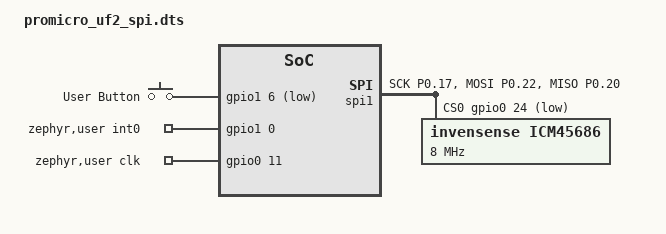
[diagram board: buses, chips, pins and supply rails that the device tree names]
// Copyright (c) 2024 Nordic Semiconductor ASA
// SPDX-License-Identifier: Apache-2.0

/dts-v1/;
#include "promicro_uf2.dts"

/delete-node/ &i2c0;

&pinctrl {
    spi1_default: spi1_default {
        group1 {
            psels = <NRF_PSEL(SPIM_SCK, 0, 17)>,
                    <NRF_PSEL(SPIM_MOSI, 0, 22)>,
                    <NRF_PSEL(SPIM_MISO, 0, 20)>;
        };
    };

    spi1_sleep: spi1_sleep {
        group1 {
            psels = <NRF_PSEL(SPIM_SCK, 0, 17)>,
                    <NRF_PSEL(SPIM_MOSI, 0, 22)>,
                    <NRF_PSEL(SPIM_MISO, 0, 20)>;
            low-power-enable;
        };
    };
};

&spi1 {
    status = "okay";
    pinctrl-0 = <&spi1_default>;
    pinctrl-1 = <&spi1_sleep>;
    pinctrl-names = "default", "sleep";
    
    cs-gpios = <&gpio0 24 GPIO_ACTIVE_LOW>; 

    icm45686: icm45686@0 {
        compatible = "invensense,icm45686";
        reg = <0>;
        spi-max-frequency = <8000000>;
    };
};

/ {
    aliases {
        sw0 = &user_button;
    };

    buttons {
        compatible = "gpio-keys";
        user_button: button_0 {
            /* P1.06 is &gpio1 6 in Zephyr */
            /* Active Low and Pull-Up are used because button connects to GND */
            gpios = <&gpio1 6 (GPIO_ACTIVE_LOW | GPIO_PULL_UP)>;
            label = "User Button";
        };
    };

    zephyr,user {
        int0-gpios = <&gpio1 0 GPIO_ACTIVE_HIGH>;
        clk-gpios = <&gpio0 11 GPIO_ACTIVE_HIGH>;
    };
};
